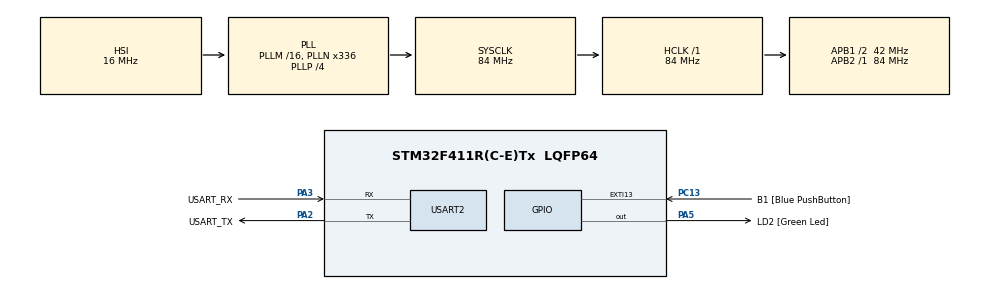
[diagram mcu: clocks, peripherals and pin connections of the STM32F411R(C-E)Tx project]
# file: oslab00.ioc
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Mcu.Family=STM32F4
Mcu.Name=STM32F411R(C-E)Tx
Mcu.Package=LQFP64
NVIC.PriorityGroup=NVIC_PRIORITYGROUP_4
NVIC.TIM2_IRQn=true\:0\:0\:false\:false\:true\:false\:true\:true
NVIC.TimeBase=TIM2_IRQn
NVIC.TimeBaseIP=TIM2
PA13.GPIO_Label=TMS
PA13.Mode=Serial_Wire
PA13.Signal=SYS_JTMS-SWDIO
PA14.GPIO_Label=TCK
PA14.Mode=Serial_Wire
PA14.Signal=SYS_JTCK-SWCLK
PA2.GPIO_Label=USART_TX
PA2.Mode=Asynchronous
PA2.Signal=USART2_TX
PA3.GPIO_Label=USART_RX
PA3.Mode=Asynchronous
PA3.Signal=USART2_RX
PA5.GPIO_Label=LD2 [Green Led]
PA5.Signal=GPIO_Output
PB3.GPIO_Label=SWO
PB3.Signal=SYS_JTDO-SWO
PC13-ANTI_TAMP.GPIO_Label=B1 [Blue PushButton]
PC13-ANTI_TAMP.GPIO_ModeDefaultEXTI=GPIO_MODE_IT_FALLING
PC13-ANTI_TAMP.Signal=GPXTI13
PC14-OSC32_IN.Mode=LSE-External-Oscillator
PC14-OSC32_IN.Signal=RCC_OSC32_IN
PC15-OSC32_OUT.Mode=LSE-External-Oscillator
PC15-OSC32_OUT.Signal=RCC_OSC32_OUT
PH0\ -\ OSC_IN.Mode=HSE-External-Clock-Source
PH0\ -\ OSC_IN.Signal=RCC_OSC_IN
PH1\ -\ OSC_OUT.Mode=HSE-External-Clock-Source
PH1\ -\ OSC_OUT.Signal=RCC_OSC_OUT
ProjectManager.HeapSize=0x200
ProjectManager.StackSize=0x400
ProjectManager.TargetToolchain=MDK-ARM V5.32
RCC.48MHZClocksFreq_Value=84000000
RCC.AHBFreq_Value=84000000
RCC.APB1CLKDivider=RCC_HCLK_DIV2
RCC.APB1Freq_Value=42000000
RCC.APB1TimFreq_Value=84000000
RCC.APB2Freq_Value=84000000
RCC.APB2TimFreq_Value=84000000
RCC.CortexFreq_Value=84000000
RCC.FLatency-AdvancedSettings=FLASH_LATENCY_2
RCC.HCLKFreq_Value=84000000
RCC.HSE_VALUE=8000000
RCC.HSI_VALUE=16000000
RCC.PLLN=336
RCC.PLLP=RCC_PLLP_DIV4
RCC.SYSCLKFreq_VALUE=84000000
RCC.SYSCLKSource=RCC_SYSCLKSOURCE_PLLCLK
RCC.VCOOutputFreq_Value=336000000
USART2.VirtualMode=VM_ASYNC
VP_SYS_VS_tim2.Mode=TIM2
board=NUCLEO-F411RE

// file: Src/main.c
/* USER CODE BEGIN Header */
/**
  ******************************************************************************
  * @file           : main.c
  * @brief          : Main program body
  ******************************************************************************
  * @attention
  *
  * Copyright (c) 2026 STMicroelectronics.
  * All rights reserved.
  *
  * This software is licensed under terms that can be found in the LICENSE file
  * in the root directory of this software component.
  * If no LICENSE file comes with this software, it is provided AS-IS.
  *
  ******************************************************************************
  */
/* USER CODE END Header */

#include "main.h"

/* USER CODE BEGIN Includes */

#include "FreeRTOS.h"
#include "FreeRTOSConfig.h"
#include "task.h"
#include <string.h>

/* USER CODE END Includes */

UART_HandleTypeDef huart2;

/* USER CODE BEGIN PV */
TaskHandle_t xLEDTaskHandle = NULL;
TaskHandle_t xUARTTaskHandle = NULL;
TaskHandle_t xBUTTONTaskHandle = NULL;
volatile uint8_t is_led_50_ms = 0;
/* USER CODE END PV */

void SystemClock_Config(void);
static void MX_GPIO_Init(void);
static void MX_USART2_UART_Init(void);

/* USER CODE BEGIN 0 */
void vTaskLED(void *pvParameters){
  for(;;){
   HAL_GPIO_TogglePin(GPIOA, GPIO_PIN_5);
	 if (is_led_50_ms == 1){
    HAL_Delay(50);
   } else {
    HAL_Delay(500);
   }
  }
}
void vTaskUART(void *pvParameters){
  char telemetry_msg[] = "Telemetry OK\r\n";
  for(;;){
    HAL_UART_Transmit(&huart2, (uint8_t*)telemetry_msg, strlen(telemetry_msg), HAL_MAX_DELAY);
    vTaskDelay(pdMS_TO_TICKS(100));
  }
}

void vTaskBUTTON(void *pvParameters){
  GPIO_PinState previousState = GPIO_PIN_SET;
  uint8_t isSuspended = 0;
  for(;;){
    GPIO_PinState isPressed = HAL_GPIO_ReadPin(GPIOC, GPIO_PIN_13);

	if (isPressed == GPIO_PIN_SET && previousState == GPIO_PIN_RESET){
	  is_led_50_ms = 0;
		vTaskPrioritySet(xLEDTaskHandle, tskIDLE_PRIORITY + 1);
		vTaskPrioritySet(xBUTTONTaskHandle, tskIDLE_PRIORITY + 1);
	} else if (isPressed == GPIO_PIN_RESET && previousState == GPIO_PIN_RESET){
		is_led_50_ms = 1;
		vTaskPrioritySet(xBUTTONTaskHandle, tskIDLE_PRIORITY + 4);
		vTaskPrioritySet(xLEDTaskHandle, tskIDLE_PRIORITY + 4);
	}
	previousState = isPressed;
	vTaskDelay(pdMS_TO_TICKS(50));
  }
}
/* USER CODE END 0 */

int main(void)
{

  /* MCU Configuration--------------------------------------------------------*/

  /* Reset of all peripherals, Initializes the Flash interface and the Systick. */
  HAL_Init();

  /* Configure the system clock */
  SystemClock_Config();

  /* Initialize all configured peripherals */
  MX_GPIO_Init();
  MX_USART2_UART_Init();

  /* USER CODE BEGIN 2 */
  xTaskCreate(vTaskLED, "LED_Task", 128, NULL, tskIDLE_PRIORITY + 1, &xLEDTaskHandle);
  xTaskCreate(vTaskUART, "UART_Task", 256, NULL, tskIDLE_PRIORITY + 1, &xUARTTaskHandle);
  xTaskCreate(vTaskBUTTON, "BUTTON_Task", 256, NULL, tskIDLE_PRIORITY + 1, &xBUTTONTaskHandle);
  vTaskStartScheduler();
  /* USER CODE END 2 */

  while (1)
  {
    /* USER CODE END WHILE */

  }
}

void SystemClock_Config(void)
{
  RCC_OscInitTypeDef RCC_OscInitStruct = {0};
  RCC_ClkInitTypeDef RCC_ClkInitStruct = {0};

  /** Configure the main internal regulator output voltage
  */
  __HAL_RCC_PWR_CLK_ENABLE();
  __HAL_PWR_VOLTAGESCALING_CONFIG(PWR_REGULATOR_VOLTAGE_SCALE1);

  /** Initializes the RCC Oscillators according to the specified parameters
  * in the RCC_OscInitTypeDef structure.
  */
  RCC_OscInitStruct.OscillatorType = RCC_OSCILLATORTYPE_HSI;
  RCC_OscInitStruct.HSIState = RCC_HSI_ON;
  RCC_OscInitStruct.HSICalibrationValue = RCC_HSICALIBRATION_DEFAULT;
  RCC_OscInitStruct.PLL.PLLState = RCC_PLL_ON;
  RCC_OscInitStruct.PLL.PLLSource = RCC_PLLSOURCE_HSI;
  RCC_OscInitStruct.PLL.PLLM = 16;
  RCC_OscInitStruct.PLL.PLLN = 336;
  RCC_OscInitStruct.PLL.PLLP = RCC_PLLP_DIV4;
  RCC_OscInitStruct.PLL.PLLQ = 4;
  if (HAL_RCC_OscConfig(&RCC_OscInitStruct) != HAL_OK)
  {
    Error_Handler();
  }

  /** Initializes the CPU, AHB and APB buses clocks
  */
  RCC_ClkInitStruct.ClockType = RCC_CLOCKTYPE_HCLK|RCC_CLOCKTYPE_SYSCLK
                              |RCC_CLOCKTYPE_PCLK1|RCC_CLOCKTYPE_PCLK2;
  RCC_ClkInitStruct.SYSCLKSource = RCC_SYSCLKSOURCE_PLLCLK;
  RCC_ClkInitStruct.AHBCLKDivider = RCC_SYSCLK_DIV1;
  RCC_ClkInitStruct.APB1CLKDivider = RCC_HCLK_DIV2;
  RCC_ClkInitStruct.APB2CLKDivider = RCC_HCLK_DIV1;

  if (HAL_RCC_ClockConfig(&RCC_ClkInitStruct, FLASH_LATENCY_2) != HAL_OK)
  {
    Error_Handler();
  }
}

static void MX_USART2_UART_Init(void)
{

  huart2.Instance = USART2;
  huart2.Init.BaudRate = 115200;
  huart2.Init.WordLength = UART_WORDLENGTH_8B;
  huart2.Init.StopBits = UART_STOPBITS_1;
  huart2.Init.Parity = UART_PARITY_NONE;
  huart2.Init.Mode = UART_MODE_TX_RX;
  huart2.Init.HwFlowCtl = UART_HWCONTROL_NONE;
  huart2.Init.OverSampling = UART_OVERSAMPLING_16;
  if (HAL_UART_Init(&huart2) != HAL_OK)
  {
    Error_Handler();
  }

}

static void MX_GPIO_Init(void)
{
  GPIO_InitTypeDef GPIO_InitStruct = {0};

  /* GPIO Ports Clock Enable */
  __HAL_RCC_GPIOC_CLK_ENABLE();
  __HAL_RCC_GPIOH_CLK_ENABLE();
  __HAL_RCC_GPIOA_CLK_ENABLE();
  __HAL_RCC_GPIOB_CLK_ENABLE();

  /*Configure GPIO pin Output Level */
  HAL_GPIO_WritePin(LD2_GPIO_Port, LD2_Pin, GPIO_PIN_RESET);

  /*Configure GPIO pin : B1_Pin */
  GPIO_InitStruct.Pin = B1_Pin;
  GPIO_InitStruct.Mode = GPIO_MODE_IT_FALLING;
  GPIO_InitStruct.Pull = GPIO_NOPULL;
  HAL_GPIO_Init(B1_GPIO_Port, &GPIO_InitStruct);

  /*Configure GPIO pin : LD2_Pin */
  GPIO_InitStruct.Pin = LD2_Pin;
  GPIO_InitStruct.Mode = GPIO_MODE_OUTPUT_PP;
  GPIO_InitStruct.Pull = GPIO_NOPULL;
  GPIO_InitStruct.Speed = GPIO_SPEED_FREQ_LOW;
  HAL_GPIO_Init(LD2_GPIO_Port, &GPIO_InitStruct);

}

void HAL_TIM_PeriodElapsedCallback(TIM_HandleTypeDef *htim)
{
  if (htim->Instance == TIM2)
  {
    HAL_IncTick();
  }
}

void Error_Handler(void)
{
  __disable_irq();
  while (1)
  {
  }
}
